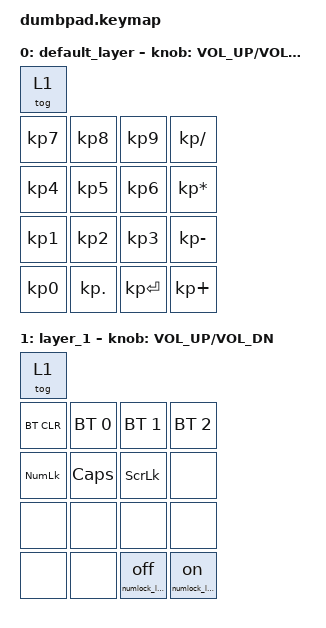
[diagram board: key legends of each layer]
/*
 * Copyright (c) 2022 The ZMK Contributors
 *
 * SPDX-License-Identifier: MIT
 */

#include <behaviors.dtsi>
#include <dt-bindings/zmk/bt.h>
#include <dt-bindings/zmk/ext_power.h>
#include <dt-bindings/zmk/keys.h>

/ {
    sensors {
        compatible = "zmk,keymap-sensors";
        sensors = <&left_encoder>;
        triggers-per-rotation = <24>;
    };
    
    keymap {
        compatible = "zmk,keymap";

        default_layer {
            bindings = <
&tog 1
&kp KP_N7   &kp KP_N8   &kp KP_N9       &kp KP_DIVIDE
&kp KP_N4   &kp KP_N5   &kp KP_N6       &kp KP_MULTIPLY
&kp KP_N1   &kp KP_N2   &kp KP_N3       &kp KP_MINUS
&kp KP_N0   &kp KP_DOT  &kp KP_ENTER    &kp KP_PLUS
            >;
            
            sensor-bindings = <&inc_dec_kp C_VOL_UP C_VOL_DN>;
        };

        layer_1 {
            bindings = <
&tog 1
&bt BT_CLR   &bt BT_SEL 0   &bt BT_SEL 1   &bt BT_SEL 2
&kp KP_NUM   &kp CAPS     &kp SLCK     &none
&none        &none        &none        &none
&none        &none        &numlock_leds off        &numlock_leds on
            >;
            
            sensor-bindings = <&inc_dec_kp C_VOL_UP C_VOL_DN>;
        };
    };
};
